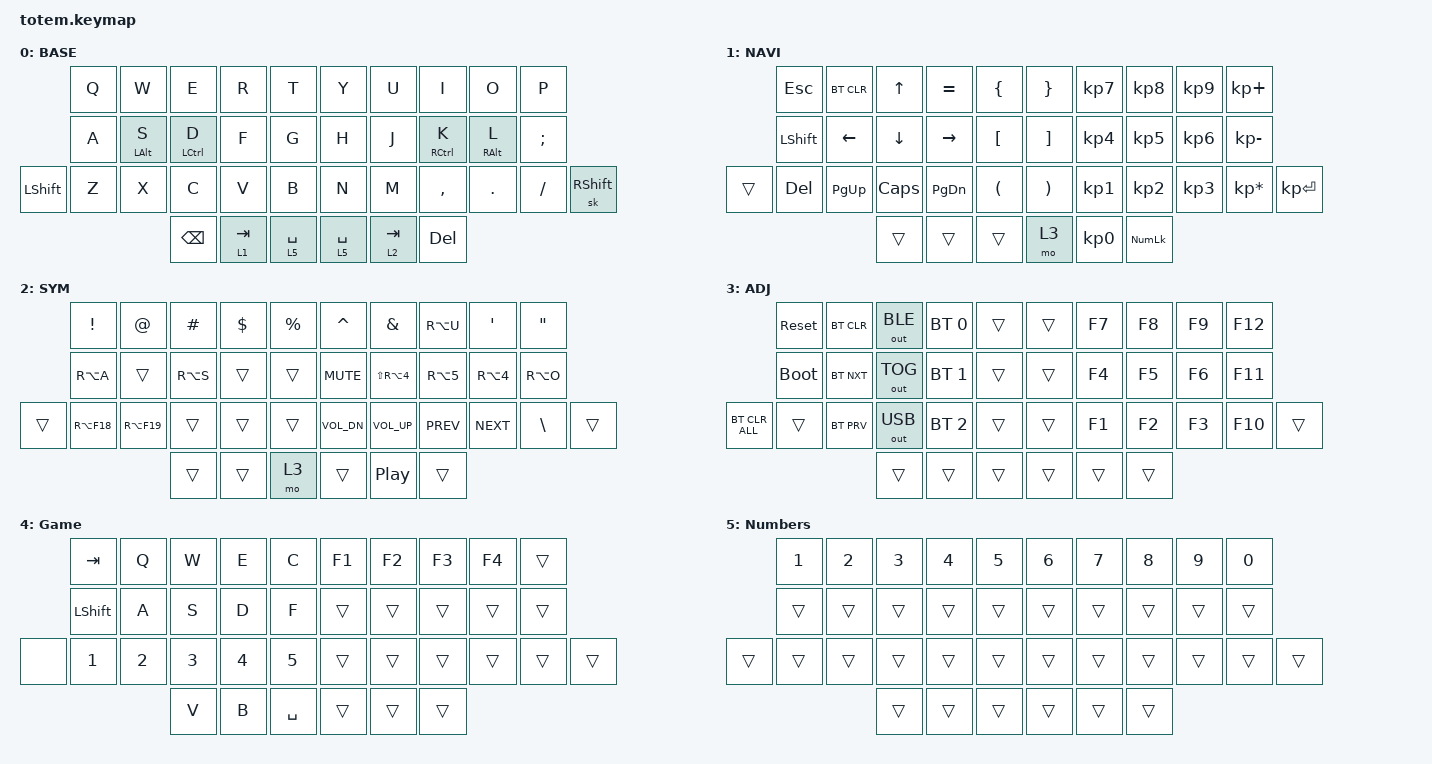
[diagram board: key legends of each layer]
//
//                                                        ▀▀▀▀▀     ▀▀▀▀▀          ▀▀█▀▀
//                                                        ▄▀▀▀▄  ▄  ▄▀▀▀▄  ▄  ▄▀▀▀▄  █  ▄▀▀▀▄
//                                                        █   █  █  █   █  █  █   █  █  █   █
//                                                         ▀▀▀   █   ▀▀▀   █   ▀▀▀   ▀   ▀▀▀
//                                                               █      ▄▄▄█▄▄▄    █   █  
//                                                               ▀      █  █  █     █▄█
//                                                             ▀▀▀▀▀    █  █  █      ▀
//                                                                      ▀  ▀  ▀
//
// ▄▄▄▄▄▄▄▄▄▄▄▄▄▄▄▄▄▄▄▄▄▄▄▄▄▄▄▄▄▄▄▄▄▄▄▄▄▄▄▄▄▄▄▄▄▄▄▄▄▄▄▄▄▄▄▄▄▄▄▄▄▄▄▄▄▄▄▄▄▄▄▄▄▄▄▄▄▄▄▄▄▄▄▄▄▄▄▄▄▄▄▄▄▄▄▄▄▄▄▄▄▄▄▄▄▄▄▄▄▄▄▄▄▄▄▄▄▄▄▄▄▄▄▄▄▄▄▄▄▄▄▄▄▄▄▄▄▄▄▄▄▄▄▄▄▄▄▄▄

#include <behaviors.dtsi>
#include <dt-bindings/zmk/bt.h>
#include <dt-bindings/zmk/keys.h>
#include <dt-bindings/zmk/outputs.h>

#define BASE 0
#define NAV  1
#define SYM  2
#define ADJ  3
#define TVP1 4
#define TVP2 5

&mt {
    quick-tap-ms = <100>;
    global-quick-tap;
    flavor = "tap-preferred";
};

/ {
    combos {
        compatible = "zmk,combos";

        combo_esc {
            timeout-ms = <50>;
            key-positions = <0 1>;
            bindings = <&kp ESC>;
        };

        combo_tvp {
            timeout-ms = <100>;
            key-positions = <11 12 13>;
            bindings = <&tog 0>;
        };

        Return_Combo {
            bindings = <&kp RET>;
            key-positions = <16 18 17>;
        };

        To_Game {
            bindings = <&to 4>;
            key-positions = <34 35>;
            layers = <0>;
        };

        To_Base {
            bindings = <&to 0>;
            key-positions = <34 35>;
            layers = <4>;
        };

        Ctrl_Alt_Del_Combo {
            bindings = <&Ctrl_Alt_Delete>;
            key-positions = <32 31 37 20>;
        };

        Alt_F4_Combo {
            bindings = <&Alt_F4>;
            key-positions = <32 3>;
        };
    };

    macros {
        Ctrl_Alt_Delete: Ctrl_Alt_Delete {
            compatible = "zmk,behavior-macro";
            #binding-cells = <0>;
            bindings =
                <&macro_press>,
                <&kp LCTRL &kp LEFT_ALT &kp DELETE>,
                <&macro_wait_time 200>,
                <&macro_release>,
                <&kp LCTRL &kp LEFT_ALT &kp DELETE>;

            label = "CTRL_ALT_DELETE";
        };

        Alt_F4: Alt_F4 {
            compatible = "zmk,behavior-macro";
            #binding-cells = <0>;
            bindings =
                <&macro_press>,
                <&kp LEFT_ALT &kp F4>,
                <&macro_wait_time 200>,
                <&macro_release>,
                <&kp LEFT_ALT &kp F4>;

            label = "ALT_F4";
        };
    };

    keymap {
        compatible = "zmk,keymap";

        // ▄▄▄▄▄▄▄▄▄▄▄▄▄▄▄▄▄▄▄▄▄▄▄▄▄▄▄▄▄▄▄▄▄▄▄▄▄▄▄▄▄▄▄▄▄▄▄▄▄▄▄▄▄▄▄▄▄▄▄▄▄▄▄▄▄▄▄▄▄▄▄▄▄▄▄▄▄▄▄▄▄▄▄▄▄▄▄▄▄▄▄▄▄▄▄▄▄▄▄▄▄▄▄▄▄▄▄▄▄▄▄▄▄▄▄▄▄▄▄▄▄▄▄▄▄▄▄▄▄▄▄▄▄▄▄▄▄▄▄▄▄▄▄▄▄▄▄▄▄

        base_layer {
            // ┏━━━━━━━━━━━━━━━━━━━━━━━━━━━━━━━━━━━━━━━┓

            label = "BASE";

            // ┗━━━━━━━━━━━━━━━━━━━━━━━━━━━━━━━━━━━━━━━┛
            //             ┏━━━━━━━━━━━┳━━━━━━━━━━━┳━━━━━━━━━━━┳━━━━━━━━━━━┳━━━━━━━━━━━┓   ┏━━━━━━━━━━━┳━━━━━━━━━━━┳━━━━━━━━━━━┳━━━━━━━━━━━┳━━━━━━━━━━━┓
            //             ┃     Q     ┃     W     ┃     E     ┃     R     ┃     T     ┃   ┃     Y     ┃     U     ┃     I     ┃     O     ┃     P     ┃
            //             ┣━━━━━━━━━━━╋━━━━━━━━━━━╋━━━━━━━━━━━╋━━━━━━━━━━━╋━━━━━━━━━━━┫   ┣━━━━━━━━━━━╋━━━━━━━━━━━╋━━━━━━━━━━━╋━━━━━━━━━━━╋━━━━━━━━━━━┫
            //             ┃     A     ┃     S     ┃     D     ┃     F     ┃     G     ┃   ┃     H     ┃     J     ┃     K     ┃     L     ┃     O     ┃
            // ┏━━━━━━━━━━━╋━━━━━━━━━━━╋━━━━━━━━━━━╋━━━━━━━━━━━╋━━━━━━━━━━━╋━━━━━━━━━━━┫   ┣━━━━━━━━━━━╋━━━━━━━━━━━╋━━━━━━━━━━━╋━━━━━━━━━━━╋━━━━━━━━━━━╋━━━━━━━━━━━┓
            // ┃     Q     ┃     Z     ┃     X     ┃     C     ┃     V     ┃     B     ┃   ┃     K     ┃     M     ┃     ,     ┃     .     ┃     /     ┃     \     ┃
            // ┗━━━━━━━━━━━┻━━━━━━━━━━━┻━━━━━━━━━━━╋━━━━━━━━━━━╋━━━━━━━━━━━╋━━━━━━━━━━━┫   ┣━━━━━━━━━━━╋━━━━━━━━━━━╋━━━━━━━━━━━╋━━━━━━━━━━━┻━━━━━━━━━━━┻━━━━━━━━━━━┛
            //                                     ┃    DEL    ┃    TAB    ┃    SPC    ┃   ┃   ENTER   ┃           ┃   BSPC    ┃
            //                                     ┗━━━━━━━━━━━┻━━━━━━━━━━━┻━━━━━━━━━━━┛   ┗━━━━━━━━━━━┻━━━━━━━━━━━┻━━━━━━━━━━━┛

            bindings = <
                &kp Q  &kp W       &kp E          &kp R      &kp T          &kp Y        &kp U      &kp I        &kp O       &kp P
                &kp A  &mt LALT S  &mt LCTRL D    &kp F      &kp G          &kp H        &kp J      &mt RCTRL K  &mt RALT L  &kp SEMI
&kp LEFT_SHIFT  &kp Z  &kp X       &kp C          &kp V      &kp B          &kp N        &kp M      &kp COMMA    &kp DOT     &kp FSLH  &sk RIGHT_SHIFT
                                   &kp BACKSPACE  &lt 1 TAB  &lt 5 SPACE    &lt 5 SPACE  &lt 2 TAB  &kp DEL
            >;
        };

        // ▄▄▄▄▄▄▄▄▄▄▄▄▄▄▄▄▄▄▄▄▄▄▄▄▄▄▄▄▄▄▄▄▄▄▄▄▄▄▄▄▄▄▄▄▄▄▄▄▄▄▄▄▄▄▄▄▄▄▄▄▄▄▄▄▄▄▄▄▄▄▄▄▄▄▄▄▄▄▄▄▄▄▄▄▄▄▄▄▄▄▄▄▄▄▄▄▄▄▄▄▄▄▄▄▄▄▄▄▄▄▄▄▄▄▄▄▄▄▄▄▄▄▄▄▄▄▄▄▄▄▄▄▄▄▄▄▄▄▄▄▄▄▄▄▄▄▄▄▄

        nav_layer {
            // ┏━━━━━━━━━━━━━━━━━━━━━━━━━━━━━━━━━━━━━━━┓

            label = "NAVI";

            // ┗━━━━━━━━━━━━━━━━━━━━━━━━━━━━━━━━━━━━━━━┛
            //             ┏━━━━━━━━━━━┳━━━━━━━━━━━┳━━━━━━━━━━━┳━━━━━━━━━━━┳━━━━━━━━━━━┓   ┏━━━━━━━━━━━┳━━━━━━━━━━━┳━━━━━━━━━━━┳━━━━━━━━━━━┳━━━━━━━━━━━┓
            //             ┃           ┃           ┃     UP    ┃           ┃     {     ┃   ┃     }     ┃     7     ┃     8     ┃     9     ┃     +     ┃
            //             ┣━━━━━━━━━━━╋━━━━━━━━━━━╋━━━━━━━━━━━╋━━━━━━━━━━━╋━━━━━━━━━━━┫   ┣━━━━━━━━━━━╋━━━━━━━━━━━╋━━━━━━━━━━━╋━━━━━━━━━━━╋━━━━━━━━━━━┫
            //             ┃   SHIFT   ┃   LEFT    ┃    DOWN   ┃   RIGHT   ┃     [     ┃   ┃     ]     ┃     4     ┃     5     ┃     6     ┃     -     ┃
            // ┏━━━━━━━━━━━╋━━━━━━━━━━━╋━━━━━━━━━━━╋━━━━━━━━━━━╋━━━━━━━━━━━╋━━━━━━━━━━━┫   ┣━━━━━━━━━━━╋━━━━━━━━━━━╋━━━━━━━━━━━╋━━━━━━━━━━━╋━━━━━━━━━━━╋━━━━━━━━━━━┓
            // ┃           ┃           ┃   P UP    ┃  C LOCK   ┃  P DOWN   ┃     (     ┃   ┃     )     ┃     1     ┃     2     ┃     3     ┃     *     ┃           ┃
            // ┗━━━━━━━━━━━┻━━━━━━━━━━━┻━━━━━━━━━━━╋━━━━━━━━━━━╋━━━━━━━━━━━╋━━━━━━━━━━━┫   ┣━━━━━━━━━━━╋━━━━━━━━━━━╋━━━━━━━━━━━╋━━━━━━━━━━━┻━━━━━━━━━━━┻━━━━━━━━━━━┛
            //                                     ┃           ┃    TAB    ┃    SPC    ┃   ┃    DEL    ┃     0     ┃           ┃
            //                                     ┗━━━━━━━━━━━┻━━━━━━━━━━━┻━━━━━━━━━━━┛   ┗━━━━━━━━━━━┻━━━━━━━━━━━┻━━━━━━━━━━━┛

            bindings = <
        &kp ESC    &bt BT_CLR  &kp UP    &kp EQUAL  &kp LBRC    &kp RBRC  &kp KP_N7  &kp KP_N8       &kp KP_N9  &kp KP_PLUS
        &kp LSHFT  &kp LEFT    &kp DOWN  &kp RIGHT  &kp LBKT    &kp RBKT  &kp KP_N4  &kp KP_N5       &kp KP_N6  &kp KP_MINUS
&trans  &kp DEL    &kp PG_UP   &kp CAPS  &kp PG_DN  &kp LPAR    &kp RPAR  &kp KP_N1  &kp KP_N2       &kp KP_N3  &kp KP_MULTIPLY  &kp KP_ENTER
                               &trans    &trans     &trans      &mo 3     &kp KP_N0  &kp KP_NUMLOCK
            >;
        };

        // ▄▄▄▄▄▄▄▄▄▄▄▄▄▄▄▄▄▄▄▄▄▄▄▄▄▄▄▄▄▄▄▄▄▄▄▄▄▄▄▄▄▄▄▄▄▄▄▄▄▄▄▄▄▄▄▄▄▄▄▄▄▄▄▄▄▄▄▄▄▄▄▄▄▄▄▄▄▄▄▄▄▄▄▄▄▄▄▄▄▄▄▄▄▄▄▄▄▄▄▄▄▄▄▄▄▄▄▄▄▄▄▄▄▄▄▄▄▄▄▄▄▄▄▄▄▄▄▄▄▄▄▄▄▄▄▄▄▄▄▄▄▄▄▄▄▄▄▄▄

        sim_layer {
            // ┏━━━━━━━━━━━━━━━━━━━━━━━━━━━━━━━━━━━━━━━┓

            label = "SYM";

            // ┗━━━━━━━━━━━━━━━━━━━━━━━━━━━━━━━━━━━━━━━┛
            //             ┏━━━━━━━━━━━┳━━━━━━━━━━━┳━━━━━━━━━━━┳━━━━━━━━━━━┳━━━━━━━━━━━┓   ┏━━━━━━━━━━━┳━━━━━━━━━━━┳━━━━━━━━━━━┳━━━━━━━━━━━┳━━━━━━━━━━━┓
            //             ┃     !     ┃     @     ┃     #     ┃     $     ┃     %     ┃   ┃     ˆ     ┃     &     ┃     Ü     ┃     '     ┃     "     ┃
            //             ┣━━━━━━━━━━━╋━━━━━━━━━━━╋━━━━━━━━━━━╋━━━━━━━━━━━╋━━━━━━━━━━━┫   ┣━━━━━━━━━━━╋━━━━━━━━━━━╋━━━━━━━━━━━╋━━━━━━━━━━━╋━━━━━━━━━━━┫
            //             ┃     Ä     ┃           ┃    SZ     ┃           ┃           ┃   ┃   MUTE    ┃   YEN     ┃   EURO    ┃  POUND    ┃     Ö     ┃
            // ┏━━━━━━━━━━━╋━━━━━━━━━━━╋━━━━━━━━━━━╋━━━━━━━━━━━╋━━━━━━━━━━━╋━━━━━━━━━━━┫   ┣━━━━━━━━━━━╋━━━━━━━━━━━╋━━━━━━━━━━━╋━━━━━━━━━━━╋━━━━━━━━━━━╋━━━━━━━━━━━┓
            // ┃           ┃  EMAIL1   ┃  EMAIL2   ┃           ┃           ┃           ┃   ┃   VOL-    ┃   VOL+    ┃   LAST    ┃   NEXT    ┃     \     ┃           ┃
            // ┗━━━━━━━━━━━┻━━━━━━━━━━━┻━━━━━━━━━━━╋━━━━━━━━━━━╋━━━━━━━━━━━╋━━━━━━━━━━━┫   ┣━━━━━━━━━━━╋━━━━━━━━━━━╋━━━━━━━━━━━╋━━━━━━━━━━━┻━━━━━━━━━━━┻━━━━━━━━━━━┛
            //                                     ┃           ┃    GIF    ┃    ADJ    ┃   ┃           ┃           ┃           ┃
            //                                     ┗━━━━━━━━━━━┻━━━━━━━━━━━┻━━━━━━━━━━━┛   ┗━━━━━━━━━━━┻━━━━━━━━━━━┻━━━━━━━━━━━┛

            bindings = <
        &kp EXCL     &kp AT       &kp HASH   &kp DLLR  &kp PRCNT    &kp CARET     &kp AMPS        &kp RA(U)   &kp SQT     &kp DQT
        &kp RA(A)    &trans       &kp RA(S)  &trans    &trans       &kp C_MUTE    &kp LS(RA(N4))  &kp RA(N5)  &kp RA(N4)  &kp RA(O)
&trans  &kp RA(F18)  &kp RA(F19)  &trans     &trans    &trans       &kp C_VOL_DN  &kp C_VOL_UP    &kp C_PREV  &kp C_NEXT  &kp BSLH   &trans
                                  &trans     &trans    &mo 3        &trans        &kp C_PP        &trans
            >;
        };

        // ▄▄▄▄▄▄▄▄▄▄▄▄▄▄▄▄▄▄▄▄▄▄▄▄▄▄▄▄▄▄▄▄▄▄▄▄▄▄▄▄▄▄▄▄▄▄▄▄▄▄▄▄▄▄▄▄▄▄▄▄▄▄▄▄▄▄▄▄▄▄▄▄▄▄▄▄▄▄▄▄▄▄▄▄▄▄▄▄▄▄▄▄▄▄▄▄▄▄▄▄▄▄▄▄▄▄▄▄▄▄▄▄▄▄▄▄▄▄▄▄▄▄▄▄▄▄▄▄▄▄▄▄▄▄▄▄▄▄▄▄▄▄▄▄▄▄▄▄▄

        adjust_layer {
            // ┏━━━━━━━━━━━━━━━━━━━━━━━━━━━━━━━━━━━━━━━┓

            label = "ADJ";

            // ┗━━━━━━━━━━━━━━━━━━━━━━━━━━━━━━━━━━━━━━━┛
            //             ┏━━━━━━━━━━━┳━━━━━━━━━━━┳━━━━━━━━━━━┳━━━━━━━━━━━┳━━━━━━━━━━━┓   ┏━━━━━━━━━━━┳━━━━━━━━━━━┳━━━━━━━━━━━┳━━━━━━━━━━━┳━━━━━━━━━━━┓
            //             ┃   RESET   ┃ BT CLEAR  ┃  OUT TOG  ┃           ┃           ┃   ┃           ┃    F7     ┃    F8     ┃    F9     ┃    F12    ┃
            //             ┣━━━━━━━━━━━╋━━━━━━━━━━━╋━━━━━━━━━━━╋━━━━━━━━━━━╋━━━━━━━━━━━┫   ┣━━━━━━━━━━━╋━━━━━━━━━━━╋━━━━━━━━━━━╋━━━━━━━━━━━╋━━━━━━━━━━━┫
            //             ┃ BOOTLOAD  ┃ BT NEXT   ┃           ┃           ┃           ┃   ┃           ┃    F4     ┃    F5     ┃    F6     ┃    F11    ┃
            // ┏━━━━━━━━━━━╋━━━━━━━━━━━╋━━━━━━━━━━━╋━━━━━━━━━━━╋━━━━━━━━━━━╋━━━━━━━━━━━┫   ┣━━━━━━━━━━━╋━━━━━━━━━━━╋━━━━━━━━━━━╋━━━━━━━━━━━╋━━━━━━━━━━━╋━━━━━━━━━━━┓
            // ┃           ┃           ┃ BT PREV   ┃           ┃           ┃           ┃   ┃           ┃    F1     ┃    F2     ┃    F3     ┃    F10    ┃           ┃
            // ┗━━━━━━━━━━━┻━━━━━━━━━━━┻━━━━━━━━━━━╋━━━━━━━━━━━╋━━━━━━━━━━━╋━━━━━━━━━━━┫   ┣━━━━━━━━━━━╋━━━━━━━━━━━╋━━━━━━━━━━━╋━━━━━━━━━━━┻━━━━━━━━━━━┻━━━━━━━━━━━┛
            //                                     ┃           ┃           ┃           ┃   ┃           ┃           ┃           ┃
            //                                     ┗━━━━━━━━━━━┻━━━━━━━━━━━┻━━━━━━━━━━━┛   ┗━━━━━━━━━━━┻━━━━━━━━━━━┻━━━━━━━━━━━┛

            bindings = <
                &sys_reset   &bt BT_CLR  &out OUT_BLE  &bt BT_SEL 0  &trans    &trans  &kp F7  &kp F8  &kp F9  &kp F12
                &bootloader  &bt BT_NXT  &out OUT_TOG  &bt BT_SEL 1  &trans    &trans  &kp F4  &kp F5  &kp F6  &kp F11
&bt BT_CLR_ALL  &trans       &bt BT_PRV  &out OUT_USB  &bt BT_SEL 2  &trans    &trans  &kp F1  &kp F2  &kp F3  &kp F10  &trans
                                         &trans        &trans        &trans    &trans  &trans  &trans
            >;
        };

        // ▄▄▄▄▄▄▄▄▄▄▄▄▄▄▄▄▄▄▄▄▄▄▄▄▄▄▄▄▄▄▄▄▄▄▄▄▄▄▄▄▄▄▄▄▄▄▄▄▄▄▄▄▄▄▄▄▄▄▄▄▄▄▄▄▄▄▄▄▄▄▄▄▄▄▄▄▄▄▄▄▄▄▄▄▄▄▄▄▄▄▄▄▄▄▄▄▄▄▄▄▄▄▄▄▄▄▄▄▄▄▄▄▄▄▄▄▄▄▄▄▄▄▄▄▄▄▄▄▄▄▄▄▄▄▄▄▄▄▄▄▄▄▄▄▄▄▄▄▄
        // ▄▄▄▄▄▄▄▄▄▄▄▄▄▄▄▄▄▄▄▄▄▄▄▄▄▄▄▄▄▄▄▄▄▄▄▄▄▄▄▄▄▄▄▄▄▄▄▄▄▄▄▄▄▄▄▄▄▄▄▄▄▄▄▄▄▄▄▄▄▄▄▄▄▄▄▄▄▄▄▄▄▄▄▄▄▄▄▄▄▄▄▄▄▄▄▄▄▄▄▄▄▄▄▄▄▄▄▄▄▄▄▄▄▄▄▄▄▄▄▄▄▄▄▄▄▄▄▄▄▄▄▄▄▄▄▄▄▄▄▄▄▄▄▄▄▄▄▄▄

        Game {
            bindings = <
       &kp TAB         &kp Q         &kp W         &kp E         &kp C        &kp F1  &kp F2  &kp F3  &kp F4  &trans
       &kp LEFT_SHIFT  &kp A         &kp S         &kp D         &kp F        &trans  &trans  &trans  &trans  &trans
&none  &kp NUMBER_1    &kp NUMBER_2  &kp NUMBER_3  &kp NUMBER_4  &kp N5       &trans  &trans  &trans  &trans  &trans  &trans
                                     &kp V         &kp B         &kp SPACE    &trans  &trans  &trans
            >;
        };

        Numbers {
            bindings = <
        &kp NUMBER_1  &kp NUMBER_2  &kp NUMBER_3  &kp NUMBER_4  &kp NUMBER_5    &kp NUMBER_6  &kp NUMBER_7  &kp NUMBER_8  &kp NUMBER_9  &kp NUMBER_0
        &trans        &trans        &trans        &trans        &trans          &trans        &trans        &trans        &trans        &trans
&trans  &trans        &trans        &trans        &trans        &trans          &trans        &trans        &trans        &trans        &trans        &trans
                                    &trans        &trans        &trans          &trans        &trans        &trans
            >;
        };
    };
};
